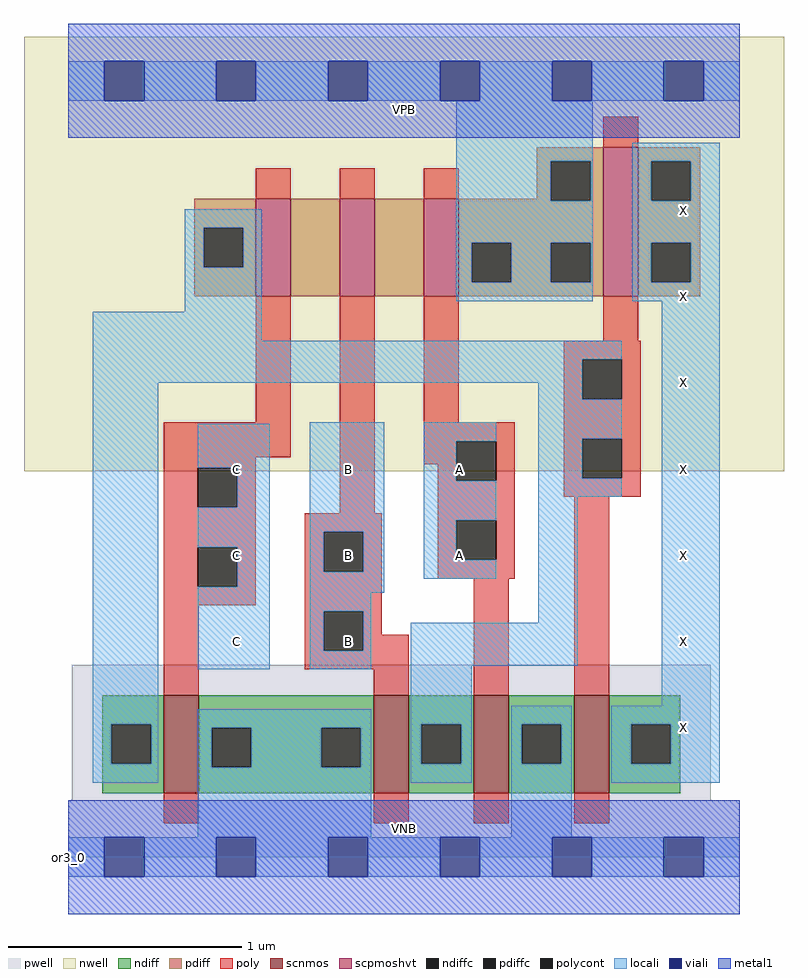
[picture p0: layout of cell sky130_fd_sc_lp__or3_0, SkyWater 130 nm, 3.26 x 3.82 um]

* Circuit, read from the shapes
.subckt sky130_fd_sc_lp__or3_0 A B C VGND VNB VPB VPWR X
XM1 VGND C n1 VNB sky130_fd_pr__nfet_01v8 w=0.42 l=0.15
XM2 n1 B VGND VNB sky130_fd_pr__nfet_01v8 w=0.42 l=0.15
XM3 VGND A n1 VNB sky130_fd_pr__nfet_01v8 w=0.42 l=0.15
XM4 X n1 VGND VNB sky130_fd_pr__nfet_01v8 w=0.42 l=0.15
XM5 n2 C n1 VPB sky130_fd_pr__pfet_01v8_hvt w=0.42 l=0.15
XM6 n3 B n2 VPB sky130_fd_pr__pfet_01v8_hvt w=0.42 l=0.15
XM7 VPWR A n3 VPB sky130_fd_pr__pfet_01v8_hvt w=0.42 l=0.15
XM8 X n1 VPWR VPB sky130_fd_pr__pfet_01v8_hvt w=0.64 l=0.15
.ends

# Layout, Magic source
magic
tech sky130A
magscale 1 2
<< nwell >>
rect -38 331 614 704
<< pwell >>
rect 3 49 551 165
rect 0 0 576 49
<< scnmos >>
rect 82 55 112 139
rect 262 55 292 139
rect 348 55 378 139
rect 434 55 464 139
<< scpmoshvt >>
rect 161 481 191 565
rect 233 481 263 565
rect 305 481 335 565
rect 459 481 489 609
<< ndiff >>
rect 29 114 82 139
rect 29 80 37 114
rect 71 80 82 114
rect 29 55 82 80
rect 112 111 262 139
rect 112 77 123 111
rect 157 77 217 111
rect 251 77 262 111
rect 112 55 262 77
rect 292 114 348 139
rect 292 80 303 114
rect 337 80 348 114
rect 292 55 348 80
rect 378 114 434 139
rect 378 80 389 114
rect 423 80 434 114
rect 378 55 434 80
rect 464 114 525 139
rect 464 80 483 114
rect 517 80 525 114
rect 464 55 525 80
<< pdiff >>
rect 402 597 459 609
rect 402 565 414 597
rect 108 540 161 565
rect 108 506 116 540
rect 150 506 161 540
rect 108 481 161 506
rect 191 481 233 565
rect 263 481 305 565
rect 335 563 414 565
rect 448 563 459 597
rect 335 527 459 563
rect 335 493 346 527
rect 380 493 414 527
rect 448 493 459 527
rect 335 481 459 493
rect 489 597 542 609
rect 489 563 500 597
rect 534 563 542 597
rect 489 527 542 563
rect 489 493 500 527
rect 534 493 542 527
rect 489 481 542 493
<< ndiffc >>
rect 37 80 71 114
rect 123 77 157 111
rect 217 77 251 111
rect 303 80 337 114
rect 389 80 423 114
rect 483 80 517 114
<< pdiffc >>
rect 116 506 150 540
rect 414 563 448 597
rect 346 493 380 527
rect 414 493 448 527
rect 500 563 534 597
rect 500 493 534 527
<< poly >>
rect 459 609 489 635
rect 161 565 191 591
rect 233 565 263 591
rect 305 565 335 591
rect 161 373 191 481
rect 82 343 191 373
rect 82 334 161 343
rect 82 300 111 334
rect 145 300 161 334
rect 82 266 161 300
rect 233 295 263 481
rect 305 373 335 481
rect 459 443 489 481
rect 425 427 491 443
rect 425 393 441 427
rect 475 393 491 427
rect 305 357 383 373
rect 305 337 333 357
rect 317 323 333 337
rect 367 323 383 357
rect 82 232 111 266
rect 145 232 161 266
rect 82 216 161 232
rect 203 279 269 295
rect 203 245 219 279
rect 253 245 269 279
rect 82 139 112 216
rect 203 211 269 245
rect 317 289 383 323
rect 425 359 491 393
rect 425 325 441 359
rect 475 325 491 359
rect 425 309 491 325
rect 317 255 333 289
rect 367 255 383 289
rect 317 239 383 255
rect 203 177 219 211
rect 253 191 269 211
rect 253 177 292 191
rect 203 161 292 177
rect 262 139 292 161
rect 348 139 378 239
rect 434 139 464 309
rect 82 29 112 55
rect 262 29 292 55
rect 348 29 378 55
rect 434 29 464 55
<< polycont >>
rect 111 300 145 334
rect 441 393 475 427
rect 333 323 367 357
rect 111 232 145 266
rect 219 245 253 279
rect 441 325 475 359
rect 333 255 367 289
rect 219 177 253 211
<< locali >>
rect 0 649 31 683
rect 65 649 127 683
rect 161 649 223 683
rect 257 649 319 683
rect 353 649 415 683
rect 449 649 511 683
rect 545 649 576 683
rect 333 597 450 649
rect 333 563 414 597
rect 448 563 450 597
rect 100 540 166 556
rect 100 506 116 540
rect 150 506 166 540
rect 100 468 166 506
rect 333 527 450 563
rect 333 493 346 527
rect 380 493 414 527
rect 448 493 450 527
rect 333 477 450 493
rect 484 597 559 613
rect 484 563 500 597
rect 534 563 559 597
rect 484 527 559 563
rect 484 493 500 527
rect 534 493 559 527
rect 484 477 559 493
rect 21 443 166 468
rect 21 427 475 443
rect 21 407 441 427
rect 21 114 77 407
rect 403 393 441 407
rect 111 334 173 372
rect 145 300 173 334
rect 111 266 173 300
rect 145 232 173 266
rect 111 161 173 232
rect 207 279 271 373
rect 207 245 219 279
rect 253 245 271 279
rect 207 227 271 245
rect 305 357 367 373
rect 305 323 333 357
rect 305 289 367 323
rect 305 255 333 289
rect 305 239 367 255
rect 403 359 475 393
rect 403 325 441 359
rect 403 309 475 325
rect 207 211 260 227
rect 207 177 219 211
rect 253 177 260 211
rect 403 201 437 309
rect 207 161 260 177
rect 294 164 437 201
rect 21 80 37 114
rect 71 80 77 114
rect 21 64 77 80
rect 111 111 260 127
rect 111 77 123 111
rect 157 77 217 111
rect 251 77 260 111
rect 111 17 260 77
rect 294 114 346 164
rect 509 130 559 477
rect 294 80 303 114
rect 337 80 346 114
rect 294 64 346 80
rect 380 114 432 130
rect 380 80 389 114
rect 423 80 432 114
rect 380 17 432 80
rect 466 114 559 130
rect 466 80 483 114
rect 517 80 559 114
rect 466 64 559 80
rect 0 -17 31 17
rect 65 -17 127 17
rect 161 -17 223 17
rect 257 -17 319 17
rect 353 -17 415 17
rect 449 -17 511 17
rect 545 -17 576 17
<< viali >>
rect 31 649 65 683
rect 127 649 161 683
rect 223 649 257 683
rect 319 649 353 683
rect 415 649 449 683
rect 511 649 545 683
rect 31 -17 65 17
rect 127 -17 161 17
rect 223 -17 257 17
rect 319 -17 353 17
rect 415 -17 449 17
rect 511 -17 545 17
<< metal1 >>
rect 0 683 576 715
rect 0 649 31 683
rect 65 649 127 683
rect 161 649 223 683
rect 257 649 319 683
rect 353 649 415 683
rect 449 649 511 683
rect 545 649 576 683
rect 0 617 576 649
rect 0 17 576 49
rect 0 -17 31 17
rect 65 -17 127 17
rect 161 -17 223 17
rect 257 -17 319 17
rect 353 -17 415 17
rect 449 -17 511 17
rect 545 -17 576 17
rect 0 -49 576 -17
<< labels >>
flabel pwell s 0 0 576 49 0 FreeSans 200 0 0 0 VNB
port 5 nsew ground bidirectional
flabel nwell s 0 617 576 666 0 FreeSans 200 0 0 0 VPB
port 6 nsew power bidirectional
rlabel comment s 0 0 0 0 4 or3_0
flabel metal1 s 0 617 576 666 0 FreeSans 340 0 0 0 VPWR
port 7 nsew power bidirectional
flabel metal1 s 0 0 576 49 0 FreeSans 340 0 0 0 VGND
port 4 nsew ground bidirectional
flabel locali s 319 242 353 276 0 FreeSans 340 0 0 0 A
port 1 nsew signal input
flabel locali s 319 316 353 350 0 FreeSans 340 0 0 0 A
port 1 nsew signal input
flabel locali s 223 168 257 202 0 FreeSans 340 0 0 0 B
port 2 nsew signal input
flabel locali s 223 242 257 276 0 FreeSans 340 0 0 0 B
port 2 nsew signal input
flabel locali s 223 316 257 350 0 FreeSans 340 0 0 0 B
port 2 nsew signal input
flabel locali s 127 168 161 202 0 FreeSans 340 0 0 0 C
port 3 nsew signal input
flabel locali s 127 242 161 276 0 FreeSans 340 0 0 0 C
port 3 nsew signal input
flabel locali s 127 316 161 350 0 FreeSans 340 0 0 0 C
port 3 nsew signal input
flabel locali s 511 94 545 128 0 FreeSans 340 0 0 0 X
port 8 nsew signal output
flabel locali s 511 168 545 202 0 FreeSans 340 0 0 0 X
port 8 nsew signal output
flabel locali s 511 242 545 276 0 FreeSans 340 0 0 0 X
port 8 nsew signal output
flabel locali s 511 316 545 350 0 FreeSans 340 0 0 0 X
port 8 nsew signal output
flabel locali s 511 390 545 424 0 FreeSans 340 0 0 0 X
port 8 nsew signal output
flabel locali s 511 464 545 498 0 FreeSans 340 0 0 0 X
port 8 nsew signal output
flabel locali s 511 538 545 572 0 FreeSans 340 0 0 0 X
port 8 nsew signal output
<< properties >>
string LEFsite unit
string LEFclass CORE
string FIXED_BBOX 0 0 576 666
string GDS_FILE $PDKPATH/libs.ref/sky130_fd_sc_lp/gds/sky130_fd_sc_lp.gds
string LEFsymmetry X Y R90
string GDS_END 3202908
string GDS_START 3196190
<< end >>
